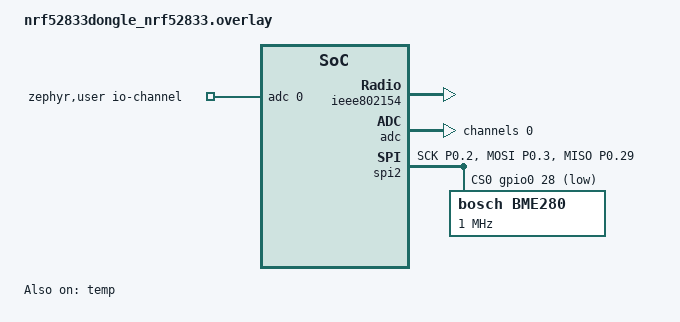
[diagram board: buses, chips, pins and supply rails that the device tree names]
/**
 * To get started, press Ctrl+Space to bring up the completion menu and view the available nodes.
 *
 * For more help, browse the DeviceTree documentation at https://docs.zephyrproject.org/latest/guides/dts/index.html
 */

 
/ {
	chosen {
		zephyr,ieee802154 = &ieee802154;
	};
};
&ieee802154 {
	status = "okay";
};

&adc {
	status = "okay";
};


// for the nRFx SoC temperature sensor.
&temp {
     status = "okay";
 };

/ {
    
	zephyr,user {
		io-channels = <&adc 0>;
	};
};

&adc {
	#address-cells = <1>;
	#size-cells = <0>;

	channel@0 {
		reg = <0>;
		zephyr,gain = "ADC_GAIN_1_6";
		zephyr,reference = "ADC_REF_INTERNAL";
		zephyr,acquisition-time = <ADC_ACQ_TIME_DEFAULT>;
		zephyr,input-positive = <NRF_SAADC_AIN6>; /* P0.30 = AIN6 */
          // zephyr,input-positive = <NRF_SAADC_AIN1>; /* P0.03 */
          // zephyr,input-positive = <NRF_SAADC_AIN7>; /* P0.31 */
		zephyr,resolution = <12>;
	};

	// // ### oversampled
	// channel@1 {
	// 	reg = <1>;
	// 	zephyr,gain = "ADC_GAIN_1_6";
	// 	zephyr,reference = "ADC_REF_INTERNAL";
	// 	zephyr,acquisition-time = <ADC_ACQ_TIME_DEFAULT>;
	// 	zephyr,input-positive = <NRF_SAADC_AIN2>; /* P0.04 */
	// 	zephyr,resolution = <14>;
	// 	zephyr,oversampling = <8>;
	// };

	// channel@2 {
	// 	reg = <2>;
	// 	zephyr,gain = "ADC_GAIN_1_6";
	// 	zephyr,reference = "ADC_REF_INTERNAL";
	// 	zephyr,acquisition-time = <ADC_ACQ_TIME_DEFAULT>;
	// 	zephyr,input-positive = <NRF_SAADC_VDD>;
	// 	zephyr,resolution = <14>;
	// 	zephyr,oversampling = <8>;
	// };



};



&pinctrl {
	
	spi2_default: spi2_default {
		group1 {
			psels = <NRF_PSEL(SPIM_SCK, 0, 2)>,
				<NRF_PSEL(SPIM_MOSI, 0, 3)>,
				<NRF_PSEL(SPIM_MISO, 0, 29)>;
		};
	};

	spi2_sleep: spi2_sleep {
		group1 {
			psels = <NRF_PSEL(SPIM_SCK, 0, 2)>,
				<NRF_PSEL(SPIM_MOSI, 0, 3)>,
				<NRF_PSEL(SPIM_MISO, 0, 29)>;
			low-power-enable;
		};
	};
};


&spi2 {
	compatible = "nordic,nrf-spi";
    status= "okay";
	pinctrl-0 = <&spi2_default>;
	pinctrl-1 = <&spi2_sleep>;
	pinctrl-names = "default", "sleep";
    cs-gpios = <&gpio0 28 GPIO_ACTIVE_LOW>;
    bme280@0 {
        compatible = "bosch,bme280";
        reg = <0x0>;
        spi-max-frequency = <1000000>;   
        label = "BME280";

    };
};



/ {
	/*
	* In some default configurations within the nRF Connect SDK,
	* e.g. on nRF52840, the chosen zephyr,entropy node is &cryptocell.
	* This devicetree overlay ensures that default is overridden wherever it
	* is set, as this application uses the RNG node for entropy exclusively.
	*/
	chosen {
		zephyr,entropy = &rng;
	};
     
     testpin {
          compatible = "batu_pins";
          //gpio 0
          mypin0_0: mypin_0_0 {
               gpios = <&gpio0 0 GPIO_ACTIVE_HIGH>;
               status = "okay";
          };
          mypin0_1: mypin_0_1 {
               gpios = <&gpio0 1 GPIO_ACTIVE_HIGH>;
               status = "okay";
          };
          mypin0_2: mypin_0_2 {
               gpios = <&gpio0 2 GPIO_ACTIVE_HIGH>;
               status = "okay";
          };
          mypin0_3: mypin_0_3 {
               gpios = <&gpio0 3 GPIO_ACTIVE_HIGH>;
               status = "okay";
          };
          mypin0_4: mypin_0_4 {
               gpios = <&gpio0 4 GPIO_ACTIVE_HIGH>;
               status = "okay";
          };
          mypin0_5: mypin_0_5 {
               gpios = <&gpio0 5 GPIO_ACTIVE_HIGH>;
               status = "okay";
          };
          mypin0_6: mypin_0_6 {
               gpios = <&gpio0 6 GPIO_ACTIVE_HIGH>;
               status = "okay";
          };
          mypin0_7: mypin_0_7 {
               gpios = <&gpio0 7 GPIO_ACTIVE_HIGH>;
               status = "okay";
          };
          mypin0_8: mypin_0_8 {
               gpios = <&gpio0 8 GPIO_ACTIVE_HIGH>;
               status = "okay";
          };
          mypin0_9: mypin_0_9 {
               gpios = <&gpio0 9 GPIO_ACTIVE_HIGH>;
               status = "okay";
          };
          mypin0_10: mypin_0_10 {
               gpios = <&gpio0 10 GPIO_ACTIVE_HIGH>;
               status = "okay";
          };
          mypin0_11: mypin_0_11 {
               gpios = <&gpio0 11 GPIO_ACTIVE_HIGH>;
               status = "okay";
          };
          mypin0_12: mypin_0_12 {
               gpios = <&gpio0 12 GPIO_ACTIVE_HIGH>;
               status = "okay";
          };
          mypin0_13: mypin_0_13 {
               gpios = <&gpio0 13 GPIO_ACTIVE_HIGH>;
               status = "okay";
          };
          mypin0_14: mypin_0_14 {
               gpios = <&gpio0 14 GPIO_ACTIVE_HIGH>;
               status = "okay";
          };
          mypin0_15: mypin_0_15 {
               gpios = <&gpio0 15 GPIO_ACTIVE_HIGH>;
               status = "okay";
          };
          mypin0_16: mypin_0_16 {
               gpios = <&gpio0 16 GPIO_ACTIVE_HIGH>;
               status = "okay";
          };
          mypin0_17: mypin_0_17 {
               gpios = <&gpio0 17 GPIO_ACTIVE_HIGH>;
               status = "okay";
          };
          mypin0_18: mypin_0_18 {
               gpios = <&gpio0 18 GPIO_ACTIVE_HIGH>;
               status = "okay";
          };
          mypin0_19: mypin_0_19 {
               gpios = <&gpio0 19 GPIO_ACTIVE_HIGH>;
               status = "okay";
          };
          mypin0_20: mypin_0_20 {
               gpios = <&gpio0 20 GPIO_ACTIVE_HIGH>;
               status = "okay";
          };
          mypin0_21: mypin_0_21 {
               gpios = <&gpio0 21 GPIO_ACTIVE_HIGH>;
               status = "okay";
          };
          mypin0_22: mypin_0_22 {
               gpios = <&gpio0 22 GPIO_ACTIVE_HIGH>;
               status = "okay";
          };
          mypin0_23: mypin_0_23 {
               gpios = <&gpio0 23 GPIO_ACTIVE_HIGH>;
               status = "okay";
          };
          mypin0_24: mypin_0_24 {
               gpios = <&gpio0 24 GPIO_ACTIVE_HIGH>;
               status = "okay";
          };
          mypin0_25: mypin_0_25 {
               gpios = <&gpio0 25 GPIO_ACTIVE_HIGH>;
               status = "okay";
          };
          mypin0_26: mypin_0_26 {
               gpios = <&gpio0 26 GPIO_ACTIVE_HIGH>;
               status = "okay";
          };
          mypin0_27: mypin_0_27 {
               gpios = <&gpio0 27 GPIO_ACTIVE_HIGH>;
               status = "okay";
          };
          mypin0_28: mypin_0_28 {
               gpios = <&gpio0 28 GPIO_ACTIVE_HIGH>;
               status = "okay";
          };
          mypin0_29: mypin_0_29 {
               gpios = <&gpio0 29 GPIO_ACTIVE_HIGH>;
               status = "okay";
          };
          mypin0_30: mypin_0_30 {
               gpios = <&gpio0 30 GPIO_ACTIVE_HIGH>;
               status = "okay";
          };
          mypin0_31: mypin_0_31 {
               gpios = <&gpio0 31 GPIO_ACTIVE_HIGH>;
               status = "okay";
          };
          mypin0_32: mypin_0_32 {
               gpios = <&gpio0 32 GPIO_ACTIVE_HIGH>;
               status = "okay";
          };
          mypin0_33: mypin_0_33 {
               gpios = <&gpio0 33 GPIO_ACTIVE_HIGH>;
               status = "okay";
          };
          mypin0_34: mypin_0_34 {
               gpios = <&gpio0 34 GPIO_ACTIVE_HIGH>;
               status = "okay";
          };
 
          mypin0_1337: mypin_0_1337 { // just trying if any error will occur
               gpios = <&gpio0 1337 GPIO_ACTIVE_HIGH>; 
               status = "okay";
          };


          //gpio 1
          mypin1_0: mypin_1_0 {
               gpios = <&gpio1 0 GPIO_ACTIVE_HIGH>;
               status = "okay";
          };
          mypin1_1: mypin_1_1 {
               gpios = <&gpio1 1 GPIO_ACTIVE_HIGH>;
               status = "okay";
          };
          mypin1_2: mypin_1_2 {
               gpios = <&gpio1 2 GPIO_ACTIVE_HIGH>;
               status = "okay";
          };
          mypin1_3: mypin_1_3 {
               gpios = <&gpio1 3 GPIO_ACTIVE_HIGH>;
               status = "okay";
          };
          mypin1_4: mypin_1_4 {
               gpios = <&gpio1 4 GPIO_ACTIVE_HIGH>;
               status = "okay";
          };
          mypin1_5: mypin_1_5 {
               gpios = <&gpio1 5 GPIO_ACTIVE_HIGH>;
               status = "okay";
          };
          mypin1_6: mypin_1_6 {
               gpios = <&gpio1 6 GPIO_ACTIVE_HIGH>;
               status = "okay";
          };
          mypin1_7: mypin_1_7 {
               gpios = <&gpio1 7 GPIO_ACTIVE_HIGH>;
               status = "okay";
          };
          mypin1_8: mypin_1_8 {
               gpios = <&gpio1 8 GPIO_ACTIVE_HIGH>;
               status = "okay";
          };
          mypin1_9: mypin_1_9 {
               gpios = <&gpio1 9 GPIO_ACTIVE_HIGH>;
               status = "okay";
          };
          mypin1_10: mypin_1_10 {
               gpios = <&gpio1 10 GPIO_ACTIVE_HIGH>;
               status = "okay";
          };
          mypin1_11: mypin_1_11 {
               gpios = <&gpio1 11 GPIO_ACTIVE_HIGH>;
               status = "okay";
          };
          mypin1_12: mypin_1_12 {
               gpios = <&gpio1 12 GPIO_ACTIVE_HIGH>;
               status = "okay";
          };
          mypin1_13: mypin_1_13 {
               gpios = <&gpio1 13 GPIO_ACTIVE_HIGH>;
               status = "okay";
          };
          mypin1_14: mypin_1_14 {
               gpios = <&gpio1 14 GPIO_ACTIVE_HIGH>;
               status = "okay";
          };
          mypin1_15: mypin_1_15 {
               gpios = <&gpio1 15 GPIO_ACTIVE_HIGH>;
               status = "okay";
          };
          mypin1_16: mypin_1_16 {
               gpios = <&gpio1 16 GPIO_ACTIVE_HIGH>;
               status = "okay";
          };
          mypin1_17: mypin_1_17 {
               gpios = <&gpio1 17 GPIO_ACTIVE_HIGH>;
               status = "okay";
          };
          mypin1_18: mypin_1_18 {
               gpios = <&gpio1 18 GPIO_ACTIVE_HIGH>;
               status = "okay";
          };
          mypin1_19: mypin_1_19 {
               gpios = <&gpio1 19 GPIO_ACTIVE_HIGH>;
               status = "okay";
          };
          mypin1_20: mypin_1_20 {
               gpios = <&gpio1 20 GPIO_ACTIVE_HIGH>;
               status = "okay";
          };
          mypin1_21: mypin_1_21 {
               gpios = <&gpio1 21 GPIO_ACTIVE_HIGH>;
               status = "okay";
          };
          mypin1_22: mypin_1_22 {
               gpios = <&gpio1 22 GPIO_ACTIVE_HIGH>;
               status = "okay";
          };
          mypin1_23: mypin_1_23 {
               gpios = <&gpio1 23 GPIO_ACTIVE_HIGH>;
               status = "okay";
          };
          mypin1_24: mypin_1_24 {
               gpios = <&gpio1 24 GPIO_ACTIVE_HIGH>;
               status = "okay";
          };
          mypin1_25: mypin_1_25 {
               gpios = <&gpio1 25 GPIO_ACTIVE_HIGH>;
               status = "okay";
          };
          mypin1_26: mypin_1_26 {
               gpios = <&gpio1 26 GPIO_ACTIVE_HIGH>;
               status = "okay";
          };
          mypin1_27: mypin_1_27 {
               gpios = <&gpio1 27 GPIO_ACTIVE_HIGH>;
               status = "okay";
          };
          mypin1_28: mypin_1_28 {
               gpios = <&gpio1 28 GPIO_ACTIVE_HIGH>;
               status = "okay";
          };
          mypin1_29: mypin_1_29 {
               gpios = <&gpio1 29 GPIO_ACTIVE_HIGH>;
               status = "okay";
          };
          mypin1_30: mypin_1_30 {
               gpios = <&gpio1 30 GPIO_ACTIVE_HIGH>;
               status = "okay";
          };
          mypin1_31: mypin_1_31 {
               gpios = <&gpio1 31 GPIO_ACTIVE_HIGH>;
               status = "okay";
          };
          mypin1_32: mypin_1_32 {
               gpios = <&gpio1 32 GPIO_ACTIVE_HIGH>;
               status = "okay";
          };
          mypin1_33: mypin_1_33 {
               gpios = <&gpio1 33 GPIO_ACTIVE_HIGH>;
               status = "okay";
          };
          mypin1_34: mypin_1_34 {
               gpios = <&gpio1 34 GPIO_ACTIVE_HIGH>;
               status = "okay";
          };

          mypin1_1337: mypin_1_1337 { // just trying if any error will occur
               gpios = <&gpio1 1337 GPIO_ACTIVE_HIGH>;
               status = "okay";
          };
          
     };
     
};

